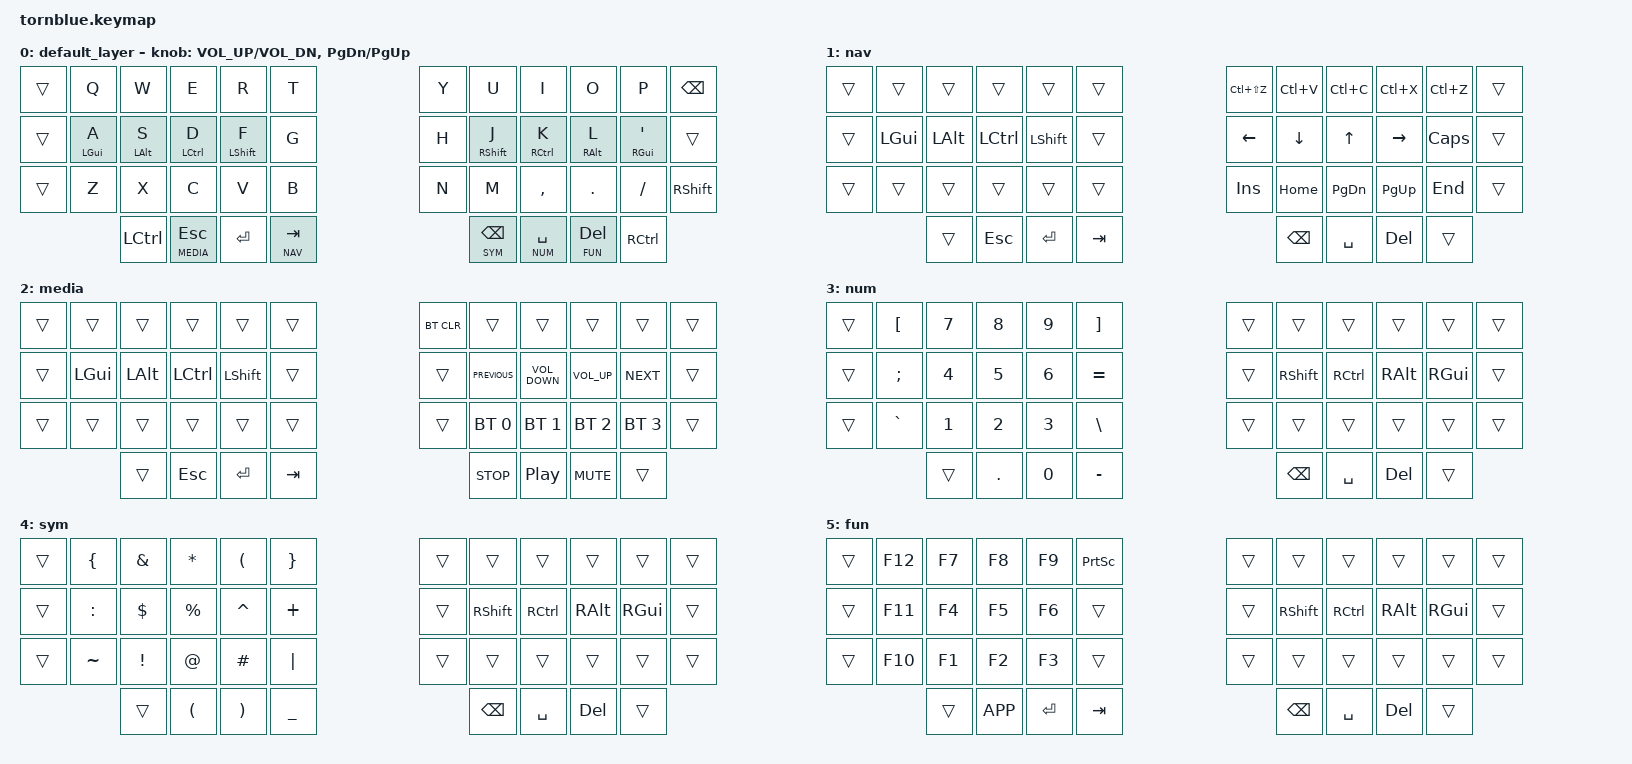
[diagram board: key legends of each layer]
/*
 * home row config based on https://github.com/urob/zmk-config
 */

#include <behaviors.dtsi>
#include <dt-bindings/zmk/keys.h>
#include <dt-bindings/zmk/ext_power.h>
#include <dt-bindings/zmk/bt.h>

#define DEFAULT 0
#define NAV 1
#define MEDIA 2
#define NUM 3
#define SYM 4
#define FUN 5

#define MO_LAYER(layer) &mo_tog layer layer   // Macro for mod tap for layer

/ {
        behaviors {
            hml: homerow_left {
                compatible = "zmk,behavior-hold-tap";
                label = "HOMEROW_LEFT";
                #binding-cells = <2>;
                flavor = "balanced";
                tapping-term-ms = <200>;
                quick-tap-ms = <175>;
                global-quick-tap;         // requires PR #1387
                bindings = <&kp>, <&kp>;
                hold-trigger-key-positions = <20 21 22 23>;
                hold-trigger-on-release;             // delay positional check until key-release
            };
            hmr: homerow_right {
                compatible = "zmk,behavior-hold-tap";
                label = "HOMEROW_RIGHT";
                #binding-cells = <2>;
                flavor = "balanced";
                tapping-term-ms = <200>;
                quick-tap-ms = <175>;
                global-quick-tap;         // requires PR #1387
                bindings = <&kp>, <&kp>;
                hold-trigger-key-positions = <14 15 16 17>;
                hold-trigger-on-release;             // delay positional check until key-release
            };
            // Use for homerow ctrl alt shift
            hm: balanced_homerow_mods {
                compatible = "zmk,behavior-hold-tap";
                label = "GLOBAL_QUICK_TAP";
                #binding-cells = <2>;
                flavor = "tap-preferred";
                tapping-term-ms = <200>;
                quick-tap-ms = <125>;
                global-quick-tap;
                bindings = <&kp>, <&kp>;
            };
            mo_layer: behaviout_mo_layer {
                compatible = "zmk,behavior-hold-tap";
                label = "LAYER_TAP";
                #binding-cells = <2>;
                tapping-term-ms = <200>;    // <---[[moderate duration]]
                quick-tap-ms = <200>;
                flavor = "balanced";
                bindings = <&mo>, <&kp>;
            };
        };

            keymap {
		compatible = "zmk,keymap";

		default_layer {
			bindings = <
	&trans  &kp Q &kp W &kp E &kp R &kp T                               &kp Y &kp U  &kp I     &kp O   &kp P    &kp BSPC
	&trans  &hml LGUI A  &hml LALT S &hml LCTRL D &hml LSHIFT F &kp G       &kp H &hmr RSHIFT J  &hmr RCTRL K     &hmr RALT L   &hmr RGUI SQT &trans
	&trans  &kp Z &kp X &kp C &kp V &kp B                               &kp N &kp M  &kp COMMA &kp DOT &kp FSLH &kp RSHFT
	           &kp LCTRL &lt MEDIA ESC &kp RET &lt NAV TAB                 &mo_layer SYM BSPC &lt NUM SPACE &lt FUN DELETE &kp RCTRL
            >;

            sensor-bindings = <&inc_dec_kp C_VOL_UP C_VOL_DN &inc_dec_kp PG_DN PG_UP>;
            };

            /**
             * Left hand activated layers
             */
            nav {
                    bindings = <
            &trans        &trans    &trans     &trans      &trans  &trans    &kp LC(LS(Z))  &kp LC(V)  &kp LC(C)   &kp LC(X) &kp LC(Z)    &trans
            &trans  &kp LEFT_GUI  &kp LALT  &kp LCTRL  &kp LSHIFT  &trans    &kp LEFT    &kp DOWN     &kp UP    &kp RIGHT    &kp CAPS     &trans
            &trans        &trans    &trans     &trans      &trans  &trans    &kp INSERT  &kp HOME  &kp PAGE_DOWN  &kp PAGE_UP  &kp END    &trans
                                         &trans &kp ESC &kp RET &kp TAB   &kp BSPC &kp SPACE &kp DELETE &trans 
                    >;
            };
            media {
                    bindings = <
            &trans        &trans    &trans     &trans      &trans  &trans    &bt BT_CLR &trans  &trans  &trans  &trans                                  &trans
            &trans  &kp LEFT_GUI  &kp LALT  &kp LCTRL  &kp LSHIFT  &trans    &trans &kp K_PREVIOUS  &kp K_VOLUME_DOWN  &kp K_VOLUME_UP  &kp K_NEXT  &trans
            &trans        &trans    &trans     &trans      &trans  &trans    &trans &bt BT_SEL 0 &bt BT_SEL 1 &bt BT_SEL 2 &bt BT_SEL 3             &trans
                                         &trans &kp ESC &kp RET &kp TAB   &kp C_STOP &kp C_PLAY_PAUSE &kp C_MUTE &trans 
                    >;
            };

            /**
             * Right hand activated layers
             */
            num {
                    bindings = <
            &trans &kp LEFT_BRACKET &kp N7  &kp N8  &kp N9  &kp RIGHT_BRACKET     &trans &trans &trans &trans &trans             &trans
            &trans &kp SEMICOLON    &kp N4  &kp N5  &kp N6  &kp EQUAL             &trans &kp RSHIFT &kp RCTRL &kp RALT &kp RGUI  &trans
            &trans &kp GRAVE        &kp N1  &kp N2  &kp N3  &kp BACKSLASH         &trans &trans &trans &trans &trans             &trans
                                    &trans  &kp DOT &kp N0  &kp MINUS             &kp BSPC &kp SPACE &kp DELETE &trans
                    >;
            };
            sym {
                    bindings = <
            &trans &kp LEFT_BRACE &kp AMPERSAND &kp ASTERISK &kp LEFT_PARENTHESIS &kp RIGHT_BRACE       &trans &trans &trans &trans &trans             &trans
            &trans &kp COLON      &kp DOLLAR    &kp PERCENT  &kp CARET            &kp PLUS              &trans &kp RSHIFT &kp RCTRL &kp RALT &kp RGUI  &trans
            &trans &kp TILDE      &kp EXCL      &kp AT       &kp HASH             &kp PIPE              &trans &trans &trans &trans &trans             &trans
                                         &trans &kp LPAR     &kp RPAR             &kp UNDERSCORE        &kp BSPC &kp SPACE &kp DELETE &trans
                    >;
            };
            fun {
                    bindings = <
            &trans &kp F12 &kp F7 &kp F8 &kp F9 &kp PSCRN          &trans &trans &trans &trans &trans             &trans
            &trans &kp F11 &kp F4 &kp F5 &kp F6 &trans             &trans &kp RSHIFT &kp RCTRL &kp RALT &kp RGUI  &trans
            &trans &kp F10 &kp F1 &kp F2 &kp F3 &trans             &trans &trans &trans &trans &trans             &trans
                           &trans &kp K_APP &kp RET &kp TAB      &kp BSPC &kp SPACE &kp DELETE &trans
                    >;
            };

    };
};
